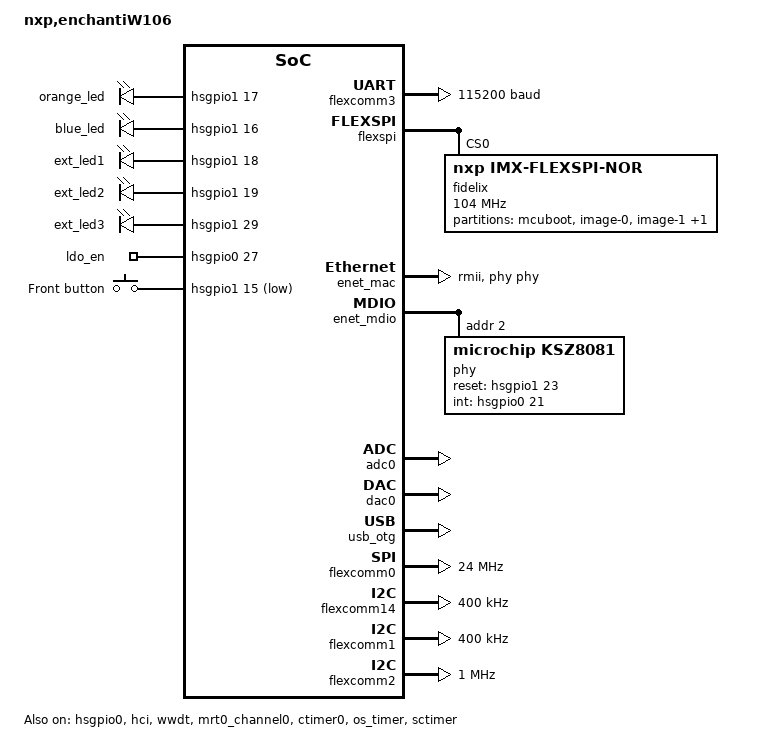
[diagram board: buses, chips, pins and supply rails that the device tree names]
/*
 * Copyright 2024 NXP
 *
 * SPDX-License-Identifier: Apache-2.0
 */

#include "enchantiW106-pinctrl.dtsi"

/ {
	model = "nxp,enchantiW106";

	aliases {
		led0 = &orange_led;
		led1 = &blue_led;
		ldoen1 = &ldo_en;
		sw0 = &front_button;
		watchdog0 = &wwdt;
		usart-0 = &flexcomm3;
		i2c1 = &flexcomm14;
		i2c2 = &flexcomm1;
		i2c3 = &flexcomm2;
		spi1 = &flexcomm0;
		pwm-0 = &sctimer;
	};

	chosen {
		zephyr,sram = &sram_data;
		zephyr,flash = &fidelix;
		zephyr,console = &flexcomm3;
		zephyr,shell-uart = &flexcomm3;
	};

	leds {
		compatible = "gpio-leds";
		orange_led: led_1 {
			gpios = <&hsgpio1 17 GPIO_ACTIVE_HIGH>;
		};
		blue_led: led_2 {
			gpios = <&hsgpio1 16 GPIO_ACTIVE_HIGH>;
		};
		ext_led1: led_3 {
			gpios = <&hsgpio1 18 GPIO_ACTIVE_HIGH>;
		};
		ext_led2: led_4 {
			gpios = <&hsgpio1 19 GPIO_ACTIVE_HIGH>;
		};
		ext_led3: led_5 {
			gpios = <&hsgpio1 29 GPIO_ACTIVE_HIGH>;
		};
		ldo_en: led_6 {
			gpios = <&hsgpio0 27 GPIO_ACTIVE_HIGH>;
		};
	};

	buttons {
		compatible = "gpio-keys";
		debounce-interval-ms = <50>;
		polling-mode;
		front_button: button_0 {
				gpios = <&hsgpio1 15 (GPIO_PULL_UP | GPIO_ACTIVE_LOW)>;
				label = "Front button";
		};
	};
};

&flexcomm3 {
	compatible = "nxp,lpc-usart";
	status = "okay";
	current-speed = <115200>;
	pinctrl-0 = <&pinmux_flexcomm3_usart>;
	pinctrl-names = "default";
};

&hsgpio0 {
	status = "okay";
};

&flexspi {
	status = "okay";
	ahb-bufferable;
	ahb-prefetch;
	ahb-cacheable;
	ahb-read-addr-opt;
	ahb-boundary = "1024";
	rx-clock-source = <1>;
	rx-clock-source-b = <1>;
	/* fidelix external flash */
	fidelix: fidelix@0 {
		compatible = "nxp,imx-flexspi-nor";
		reg = <0>;
		size = <DT_SIZE_M(64 * 8)>;
		status = "okay";
		erase-block-size = <4096>;
		write-block-size = <1>;
		spi-max-frequency = <104000000>;

		partitions {
			compatible = "fixed-partitions";
			#address-cells = <1>;
			#size-cells = <1>;

			boot_partition: partition@0 {
				label = "mcuboot";
				reg = <0x00000000 DT_SIZE_K(128)>;
			};
			/* The MCUBoot swap-move algorithm uses the last 2 sectors
			 * of the primary slot0 for swap status and move.
			 */
			slot0_partition: partition@20000 {
				label = "image-0";
				reg = <0x00020000 (DT_SIZE_M(3) + DT_SIZE_K(2 * 4))>;
			};
			slot1_partition: partition@323000 {
				label = "image-1";
				reg = <0x00323000 DT_SIZE_M(3)>;
			};
			storage_partition: partition@623000 {
				label = "storage";
				reg = <0x00623000 (DT_SIZE_M(58) - DT_SIZE_K(136))>;
			};
		};
	};
	aps6404l: aps6404l@2 {
			compatible = "nxp,imx-flexspi-aps6404l";
			/* APS6404L is 8MB, 64MBit pSRAM */
			size = <DT_SIZE_M(8 * 8)>;
			reg = <2>;
			spi-max-frequency = <109000000>;
			/* PSRAM cannot be enabled while board is in default XIP
			 * configuration, as it will conflict with flash chip.
			 */
			status = "disabled";
			cs-interval-unit = <1>;
			cs-interval = <2>;
			cs-hold-time = <3>;
			cs-setup-time = <3>;
			data-valid-time = <6>;
			column-space = <0>;
			ahb-write-wait-unit = <2>;
			ahb-write-wait-interval = <0>;
	};
};

&hci {
	status = "okay";
	wakeup-source;
};

&enet_mac {
	status = "okay";
	pinctrl-0 = <&pinmux_enet>;
	pinctrl-names = "default";
	phy-handle = <&phy>;
	zephyr,random-mac-address;
	phy-connection-type = "rmii";
};

&enet_mdio {
	status = "okay";
	pinctrl-0 = <&pinmux_mdio>;
	pinctrl-names = "default";
	phy: phy@2 {
		compatible = "microchip,ksz8081";
		reg = <2>;
		status = "okay";
		reset-gpios = <&hsgpio1 23 GPIO_ACTIVE_HIGH>;
		int-gpios = <&hsgpio0 21 GPIO_ACTIVE_HIGH>;
		microchip,interface-type = "rmii";
	};
};

&wwdt {
	status = "okay";
};

&dma0 {
	status = "okay";
};

&mrt0_channel0 {
	status = "okay";
};

&ctimer0 {
	status = "okay";
};

&pmu {
	reset-causes-en = <PMU_RESET_CM33_LOCKUP>,
			  <PMU_RESET_ITRC>,
			  <PMU_RESET_AP_RESET>;
};

/* OS Timer is the wakeup source for PM mode 2 */
&os_timer {
	status = "okay";
	wakeup-source;
};

&systick {
	status = "disabled";
};

&adc0 {
	status = "okay";
};

&dac0 {
	status = "okay";
};

&sctimer {
	status = "okay";
	pinctrl-0 = <&pinmux_pwm0>;
	pinctrl-names = "default";
};

zephyr_udc0: &usb_otg {
	status = "okay";
};

/*
 * Add IMU, magnetometer to targets for I2C/SPI interface
 */
arduino_spi: &flexcomm0 {
	compatible = "nxp,lpc-spi";
	clock-frequency = <24000000>;
	pinctrl-0 = <&pinmux_flexcomm0_spi>;
	pinctrl-names = "default";
	status = "okay";
	#address-cells = <1>;
	#size-cells = <0>;
};

arduino_i2c1: &flexcomm14 {
	compatible = "nxp,lpc-i2c";
	status = "okay";
	clock-frequency = <I2C_BITRATE_FAST>;
	#address-cells = <1>;
	#size-cells = <0>;
	pinctrl-0 = <&pinmux_flexcomm14_i2c>;
	pinctrl-names = "default";
};

arduino_i2c2: &flexcomm1 {
	compatible = "nxp,lpc-i2c";
	status = "okay";
	clock-frequency = <I2C_BITRATE_FAST>;
	#address-cells = <1>;
	#size-cells = <0>;
	pinctrl-0 = <&pinmux_flexcomm1_i2c>;
	pinctrl-names = "default";
};

arduino_i2c3: &flexcomm2 {
	compatible = "nxp,lpc-i2c";
	status = "okay";
	clock-frequency = <I2C_BITRATE_FAST_PLUS>;
	#address-cells = <1>;
	#size-cells = <0>;
	pinctrl-0 = <&pinmux_flexcomm2_i2c>;
	pinctrl-names = "default";
};




